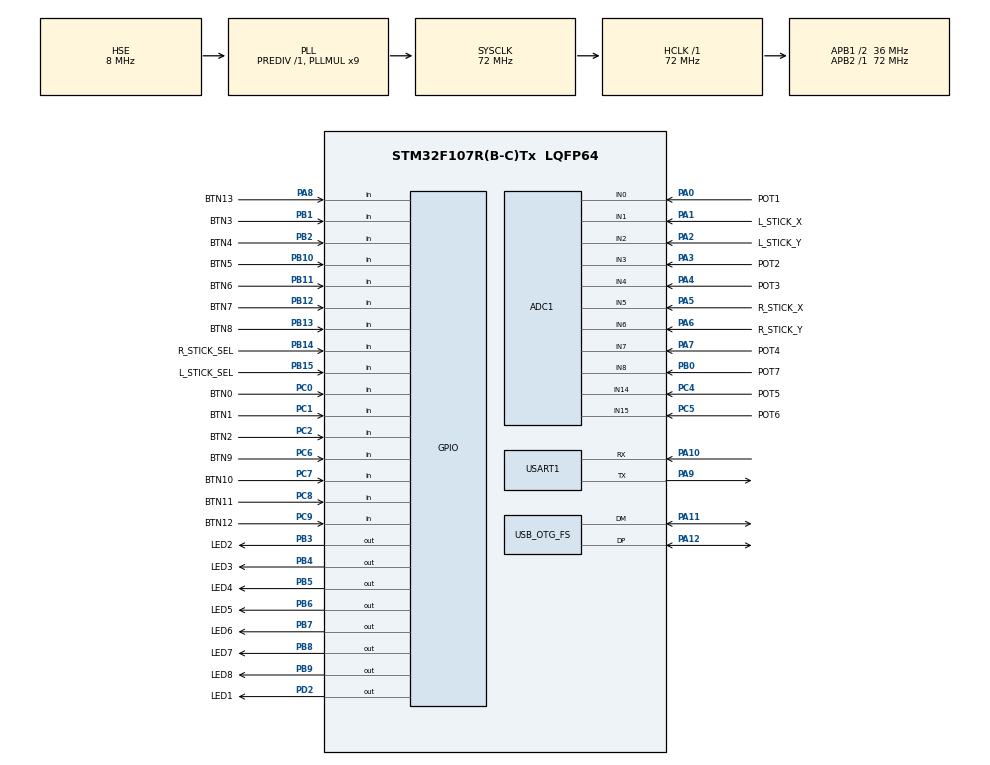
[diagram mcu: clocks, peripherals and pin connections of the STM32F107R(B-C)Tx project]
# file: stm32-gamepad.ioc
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ADC1.Channel-0\#ChannelRegularConversion=ADC_CHANNEL_0
ADC1.NbrOfConversionFlag=1
ADC1.Rank-0\#ChannelRegularConversion=1
ADC1.SamplingTime-0\#ChannelRegularConversion=ADC_SAMPLETIME_1CYCLE_5
ADC1.master=1
Mcu.Family=STM32F1
Mcu.Name=STM32F107R(B-C)Tx
Mcu.Package=LQFP64
NVIC.OTG_FS_IRQn=true\:0\:0\:false\:false\:true\:false\:true\:true
NVIC.PriorityGroup=NVIC_PRIORITYGROUP_4
NVIC.TIM1_UP_IRQn=true\:15\:0\:false\:false\:true\:false\:true\:true
NVIC.TimeBase=TIM1_UP_IRQn
NVIC.TimeBaseIP=TIM1
PA0-WKUP.GPIO_Label=POT1
PA0-WKUP.Signal=ADCx_IN0
PA1.GPIO_Label=L_STICK_X
PA1.Signal=ADCx_IN1
PA10.Mode=Asynchronous
PA10.Signal=USART1_RX
PA11.Mode=Device_Only
PA11.Signal=USB_OTG_FS_DM
PA12.Mode=Device_Only
PA12.Signal=USB_OTG_FS_DP
PA13.Mode=Serial_Wire
PA13.Signal=SYS_JTMS-SWDIO
PA14.Mode=Serial_Wire
PA14.Signal=SYS_JTCK-SWCLK
PA2.GPIO_Label=L_STICK_Y
PA2.Signal=ADCx_IN2
PA3.GPIO_Label=POT2
PA3.Signal=ADCx_IN3
PA4.GPIO_Label=POT3
PA4.Signal=ADCx_IN4
PA5.GPIO_Label=R_STICK_X
PA5.Signal=ADCx_IN5
PA6.GPIO_Label=R_STICK_Y
PA6.Signal=ADCx_IN6
PA7.GPIO_Label=POT4
PA7.Signal=ADCx_IN7
PA8.GPIO_Label=BTN13
PA8.Signal=GPIO_Input
PA9.Mode=Asynchronous
PA9.Signal=USART1_TX
PB0.GPIO_Label=POT7
PB0.Signal=ADCx_IN8
PB1.GPIO_Label=BTN3
PB1.GPIO_Mode=GPIO_MODE_INPUT
PB1.GPIO_PuPd=GPIO_PULLUP
PB1.Signal=GPIO_Input
PB10.GPIO_Label=BTN5
PB10.GPIO_Mode=GPIO_MODE_INPUT
PB10.GPIO_PuPd=GPIO_PULLUP
PB10.Signal=GPIO_Input
PB11.GPIO_Label=BTN6
PB11.GPIO_Mode=GPIO_MODE_INPUT
PB11.GPIO_PuPd=GPIO_PULLUP
PB11.Signal=GPIO_Input
PB12.GPIO_Label=BTN7
PB12.GPIO_Mode=GPIO_MODE_INPUT
PB12.GPIO_PuPd=GPIO_PULLUP
PB12.Signal=GPIO_Input
PB13.GPIO_Label=BTN8
PB13.GPIO_Mode=GPIO_MODE_INPUT
PB13.GPIO_PuPd=GPIO_PULLUP
PB13.Signal=GPIO_Input
PB14.GPIO_Label=R_STICK_SEL
PB14.GPIO_Mode=GPIO_MODE_INPUT
PB14.GPIO_PuPd=GPIO_PULLUP
PB14.Signal=GPIO_Input
PB15.GPIO_Label=L_STICK_SEL
PB15.GPIO_Mode=GPIO_MODE_INPUT
PB15.GPIO_PuPd=GPIO_PULLUP
PB15.Signal=GPIO_Input
PB2.GPIO_Label=BTN4
PB2.GPIO_Mode=GPIO_MODE_INPUT
PB2.GPIO_PuPd=GPIO_PULLUP
PB2.Signal=GPIO_Input
PB3.GPIO_Label=LED2
PB3.Signal=GPIO_Output
PB4.GPIO_Label=LED3
PB4.Signal=GPIO_Output
PB5.GPIO_Label=LED4
PB5.Signal=GPIO_Output
PB6.GPIO_Label=LED5
PB6.Signal=GPIO_Output
PB7.GPIO_Label=LED6
PB7.Signal=GPIO_Output
PB8.GPIO_Label=LED7
PB8.Signal=GPIO_Output
PB9.GPIO_Label=LED8
PB9.Signal=GPIO_Output
PC0.GPIO_Label=BTN0
PC0.Signal=GPIO_Input
PC1.GPIO_Label=BTN1
PC1.GPIO_Mode=GPIO_MODE_INPUT
PC1.GPIO_PuPd=GPIO_PULLUP
PC1.Signal=GPIO_Input
PC14-OSC32_IN.Mode=LSE-External-Oscillator
PC14-OSC32_IN.Signal=RCC_OSC32_IN
PC15-OSC32_OUT.Mode=LSE-External-Oscillator
PC15-OSC32_OUT.Signal=RCC_OSC32_OUT
PC2.GPIO_Label=BTN2
PC2.GPIO_Mode=GPIO_MODE_INPUT
PC2.GPIO_PuPd=GPIO_PULLUP
PC2.Signal=GPIO_Input
PC4.GPIO_Label=POT5
PC4.Signal=ADCx_IN14
PC5.GPIO_Label=POT6
PC5.Signal=ADCx_IN15
PC6.GPIO_Label=BTN9
PC6.Signal=GPIO_Input
PC7.GPIO_Label=BTN10
PC7.Signal=GPIO_Input
PC8.GPIO_Label=BTN11
PC8.Signal=GPIO_Input
PC9.GPIO_Label=BTN12
PC9.Signal=GPIO_Input
PD0-OSC_IN.Mode=HSE-External-Oscillator
PD0-OSC_IN.Signal=RCC_OSC_IN
PD1-OSC_OUT.Mode=HSE-External-Oscillator
PD1-OSC_OUT.Signal=RCC_OSC_OUT
PD2.GPIO_Label=LED1
PD2.Signal=GPIO_Output
ProjectManager.HeapSize=0x200
ProjectManager.StackSize=0x400
ProjectManager.TargetToolchain=STM32CubeIDE
RCC.ADCPresc=RCC_ADCPCLK2_DIV6
RCC.AHBFreq_Value=72000000
RCC.APB1CLKDivider=RCC_HCLK_DIV2
RCC.APB1Freq_Value=36000000
RCC.APB1TimFreq_Value=72000000
RCC.APB2Freq_Value=72000000
RCC.APB2TimFreq_Value=72000000
RCC.HCLKFreq_Value=72000000
RCC.PLLMUL=RCC_PLL_MUL9
RCC.SYSCLKFreq_VALUE=72000000
RCC.SYSCLKSource=RCC_SYSCLKSOURCE_PLLCLK
RCC.USBFreq_Value=48000000
SH.ADCx_IN0.0=ADC1_IN0,IN0
SH.ADCx_IN1.0=ADC1_IN1,IN1
SH.ADCx_IN14.0=ADC1_IN14,IN14
SH.ADCx_IN15.0=ADC1_IN15,IN15
SH.ADCx_IN2.0=ADC1_IN2,IN2
SH.ADCx_IN3.0=ADC1_IN3,IN3
SH.ADCx_IN4.0=ADC1_IN4,IN4
SH.ADCx_IN5.0=ADC1_IN5,IN5
SH.ADCx_IN6.0=ADC1_IN6,IN6
SH.ADCx_IN7.0=ADC1_IN7,IN7
SH.ADCx_IN8.0=ADC1_IN8,IN8
USART1.VirtualMode=VM_ASYNC
USB_DEVICE.CLASS_NAME_FS=HID
USB_DEVICE.PID_HID_FS=0x5710
USB_DEVICE.VID=0x0483
USB_DEVICE.VirtualMode=Hid
USB_DEVICE.VirtualModeFS=Hid_FS
USB_OTG_FS.VirtualMode=Device_Only
VP_SYS_VS_tim1.Mode=TIM1
VP_USB_DEVICE_VS_USB_DEVICE_HID_FS.Mode=HID_FS
board=custom

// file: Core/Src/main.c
/* USER CODE BEGIN Header */
/**
  ******************************************************************************
  * @file           : main.c
  * @brief          : Main program body
  ******************************************************************************
  * @attention
  *
  * Copyright (c) 2024 STMicroelectronics.
  * All rights reserved.
  *
  * This software is licensed under terms that can be found in the LICENSE file
  * in the root directory of this software component.
  * If no LICENSE file comes with this software, it is provided AS-IS.
  *
  ******************************************************************************
  */
/* USER CODE END Header */
#include "main.h"
#include "usb_device.h"
#include "usbd_hid.h"
/* USER CODE BEGIN Includes */
extern USBD_HandleTypeDef hUsbDeviceFS;
typedef struct {
    uint8_t Button;   // 8 buttons (1 bit per button)
    int8_t Rx;     // Joystick X-axis (-128 to 127)
    int8_t Ry;     // Joystick Y-axis (-128 to 127)
    int8_t Rz;     // Joystick Z-axis (-128 to 127)
    uint8_t Slider; // 0-255 range
} Gamepad_Report_t;

/* USER CODE END Includes */

ADC_HandleTypeDef hadc1;

UART_HandleTypeDef huart1;

void SystemClock_Config(void);
static void MX_GPIO_Init(void);
static void MX_ADC1_Init(void);
static void MX_USART1_UART_Init(void);

int main(void)
{

  /* MCU Configuration--------------------------------------------------------*/

  /* Reset of all peripherals, Initializes the Flash interface and the Systick. */
  HAL_Init();

  /* Configure the system clock */
  SystemClock_Config();

  /* Initialize all configured peripherals */
  MX_GPIO_Init();
  MX_ADC1_Init();
  MX_USART1_UART_Init();
  MX_USB_DEVICE_Init();

  /* Infinite loop */
  while (1)
  {

    /* USER CODE BEGIN 3 */
	  processBTN();
  }
  /* USER CODE END 3 */
}

void SystemClock_Config(void)
{
  RCC_OscInitTypeDef RCC_OscInitStruct = {0};
  RCC_ClkInitTypeDef RCC_ClkInitStruct = {0};
  RCC_PeriphCLKInitTypeDef PeriphClkInit = {0};

  /** Initializes the RCC Oscillators according to the specified parameters
  * in the RCC_OscInitTypeDef structure.
  */
  RCC_OscInitStruct.OscillatorType = RCC_OSCILLATORTYPE_HSE;
  RCC_OscInitStruct.HSEState = RCC_HSE_ON;
  RCC_OscInitStruct.HSEPredivValue = RCC_HSE_PREDIV_DIV1;
  RCC_OscInitStruct.HSIState = RCC_HSI_ON;
  RCC_OscInitStruct.Prediv1Source = RCC_PREDIV1_SOURCE_HSE;
  RCC_OscInitStruct.PLL.PLLState = RCC_PLL_ON;
  RCC_OscInitStruct.PLL.PLLSource = RCC_PLLSOURCE_HSE;
  RCC_OscInitStruct.PLL.PLLMUL = RCC_PLL_MUL9;
  RCC_OscInitStruct.PLL2.PLL2State = RCC_PLL_NONE;
  if (HAL_RCC_OscConfig(&RCC_OscInitStruct) != HAL_OK)
  {
    Error_Handler();
  }

  /** Initializes the CPU, AHB and APB buses clocks
  */
  RCC_ClkInitStruct.ClockType = RCC_CLOCKTYPE_HCLK|RCC_CLOCKTYPE_SYSCLK
                              |RCC_CLOCKTYPE_PCLK1|RCC_CLOCKTYPE_PCLK2;
  RCC_ClkInitStruct.SYSCLKSource = RCC_SYSCLKSOURCE_PLLCLK;
  RCC_ClkInitStruct.AHBCLKDivider = RCC_SYSCLK_DIV1;
  RCC_ClkInitStruct.APB1CLKDivider = RCC_HCLK_DIV2;
  RCC_ClkInitStruct.APB2CLKDivider = RCC_HCLK_DIV1;

  if (HAL_RCC_ClockConfig(&RCC_ClkInitStruct, FLASH_LATENCY_2) != HAL_OK)
  {
    Error_Handler();
  }
  PeriphClkInit.PeriphClockSelection = RCC_PERIPHCLK_ADC|RCC_PERIPHCLK_USB;
  PeriphClkInit.AdcClockSelection = RCC_ADCPCLK2_DIV6;
  PeriphClkInit.UsbClockSelection = RCC_USBCLKSOURCE_PLL_DIV3;
  if (HAL_RCCEx_PeriphCLKConfig(&PeriphClkInit) != HAL_OK)
  {
    Error_Handler();
  }

  /** Configure the Systick interrupt time
  */
  __HAL_RCC_PLLI2S_ENABLE();
}

static void MX_ADC1_Init(void)
{

  ADC_ChannelConfTypeDef sConfig = {0};

  /** Common config
  */
  hadc1.Instance = ADC1;
  hadc1.Init.ScanConvMode = ADC_SCAN_DISABLE;
  hadc1.Init.ContinuousConvMode = DISABLE;
  hadc1.Init.DiscontinuousConvMode = DISABLE;
  hadc1.Init.ExternalTrigConv = ADC_SOFTWARE_START;
  hadc1.Init.DataAlign = ADC_DATAALIGN_RIGHT;
  hadc1.Init.NbrOfConversion = 1;
  if (HAL_ADC_Init(&hadc1) != HAL_OK)
  {
    Error_Handler();
  }

  /** Configure Regular Channel
  */
  sConfig.Channel = ADC_CHANNEL_1;
  sConfig.Rank = ADC_REGULAR_RANK_1;
  sConfig.SamplingTime = ADC_SAMPLETIME_1CYCLE_5;
  if (HAL_ADC_ConfigChannel(&hadc1, &sConfig) != HAL_OK)
  {
    Error_Handler();
  }

}

static void MX_USART1_UART_Init(void)
{

  huart1.Instance = USART1;
  huart1.Init.BaudRate = 115200;
  huart1.Init.WordLength = UART_WORDLENGTH_8B;
  huart1.Init.StopBits = UART_STOPBITS_1;
  huart1.Init.Parity = UART_PARITY_NONE;
  huart1.Init.Mode = UART_MODE_TX_RX;
  huart1.Init.HwFlowCtl = UART_HWCONTROL_NONE;
  huart1.Init.OverSampling = UART_OVERSAMPLING_16;
  if (HAL_UART_Init(&huart1) != HAL_OK)
  {
    Error_Handler();
  }

}

static void MX_GPIO_Init(void)
{
  GPIO_InitTypeDef GPIO_InitStruct = {0};

  /* GPIO Ports Clock Enable */
  __HAL_RCC_GPIOC_CLK_ENABLE();
  __HAL_RCC_GPIOD_CLK_ENABLE();
  __HAL_RCC_GPIOA_CLK_ENABLE();
  __HAL_RCC_GPIOB_CLK_ENABLE();

  /*Configure GPIO pin Output Level */
  HAL_GPIO_WritePin(LED1_GPIO_Port, LED1_Pin, GPIO_PIN_RESET);

  /*Configure GPIO pin Output Level */
  HAL_GPIO_WritePin(GPIOB, LED2_Pin|LED3_Pin|LED4_Pin|LED5_Pin
                          |LED6_Pin|LED7_Pin|LED8_Pin, GPIO_PIN_RESET);

  /*Configure GPIO pins : BTN14_Pin BTN9_Pin BTN10_Pin BTN11_Pin
                           BTN12_Pin */
  GPIO_InitStruct.Pin = BTN14_Pin|BTN9_Pin|BTN10_Pin|BTN11_Pin
                          |BTN12_Pin;
  GPIO_InitStruct.Mode = GPIO_MODE_INPUT;
  GPIO_InitStruct.Pull = GPIO_NOPULL;
  HAL_GPIO_Init(GPIOC, &GPIO_InitStruct);

  /*Configure GPIO pins : BTN1_Pin BTN2_Pin */
  GPIO_InitStruct.Pin = BTN1_Pin|BTN2_Pin;
  GPIO_InitStruct.Mode = GPIO_MODE_INPUT;
  GPIO_InitStruct.Pull = GPIO_PULLUP;
  HAL_GPIO_Init(GPIOC, &GPIO_InitStruct);

  /*Configure GPIO pins : BTN3_Pin BTN4_Pin BTN5_Pin BTN6_Pin
                           BTN7_Pin BTN8_Pin R_STICK_SEL_Pin L_STICK_SEL_Pin */
  GPIO_InitStruct.Pin = BTN3_Pin|BTN4_Pin|BTN5_Pin|BTN6_Pin
                          |BTN7_Pin|BTN8_Pin|R_STICK_SEL_Pin|L_STICK_SEL_Pin;
  GPIO_InitStruct.Mode = GPIO_MODE_INPUT;
  GPIO_InitStruct.Pull = GPIO_PULLUP;
  HAL_GPIO_Init(GPIOB, &GPIO_InitStruct);

  /*Configure GPIO pin : BTN13_Pin */
  GPIO_InitStruct.Pin = BTN13_Pin;
  GPIO_InitStruct.Mode = GPIO_MODE_INPUT;
  GPIO_InitStruct.Pull = GPIO_NOPULL;
  HAL_GPIO_Init(BTN13_GPIO_Port, &GPIO_InitStruct);

  /*Configure GPIO pin : LED1_Pin */
  GPIO_InitStruct.Pin = LED1_Pin;
  GPIO_InitStruct.Mode = GPIO_MODE_OUTPUT_PP;
  GPIO_InitStruct.Pull = GPIO_NOPULL;
  GPIO_InitStruct.Speed = GPIO_SPEED_FREQ_LOW;
  HAL_GPIO_Init(LED1_GPIO_Port, &GPIO_InitStruct);

  /*Configure GPIO pins : LED2_Pin LED3_Pin LED4_Pin LED5_Pin
                           LED6_Pin LED7_Pin LED8_Pin */
  GPIO_InitStruct.Pin = LED2_Pin|LED3_Pin|LED4_Pin|LED5_Pin
                          |LED6_Pin|LED7_Pin|LED8_Pin;
  GPIO_InitStruct.Mode = GPIO_MODE_OUTPUT_PP;
  GPIO_InitStruct.Pull = GPIO_NOPULL;
  GPIO_InitStruct.Speed = GPIO_SPEED_FREQ_LOW;
  HAL_GPIO_Init(GPIOB, &GPIO_InitStruct);

}

/* USER CODE BEGIN 4 */
void processBTN() {
    uint8_t buttonState = 0;
    buttonState |= HAL_GPIO_ReadPin(GPIOC, GPIO_PIN_1) << 0;  // Button 1
    buttonState |= HAL_GPIO_ReadPin(GPIOC, GPIO_PIN_2) << 1;  // Button 2
    buttonState |= HAL_GPIO_ReadPin(GPIOB, GPIO_PIN_1) << 2;  // Button 3
    buttonState |= HAL_GPIO_ReadPin(GPIOC, GPIO_PIN_0) << 3;  // Button 4
    buttonState |= HAL_GPIO_ReadPin(GPIOB, GPIO_PIN_10) << 4;  // Button 5
    buttonState |= HAL_GPIO_ReadPin(GPIOB, GPIO_PIN_11) << 5;  // Button 6
    buttonState |= HAL_GPIO_ReadPin(GPIOB, GPIO_PIN_12) << 6;  // Button 7
    buttonState |= HAL_GPIO_ReadPin(GPIOB, GPIO_PIN_13) << 7;  // Button 8
    buttonState |= HAL_GPIO_ReadPin(GPIOC, GPIO_PIN_6) << 8;  // Button 9
    buttonState |= HAL_GPIO_ReadPin(GPIOC, GPIO_PIN_7) << 9;  // Button 10
    buttonState |= HAL_GPIO_ReadPin(GPIOC, GPIO_PIN_8) << 10;  // Button 11
    buttonState |= HAL_GPIO_ReadPin(GPIOC, GPIO_PIN_9) << 11;  // Button 12
    buttonState |= HAL_GPIO_ReadPin(GPIOA, GPIO_PIN_8) << 12;  // Button 13

    Gamepad_Report_t report = {
        .Button = buttonState,
        .Rx = 0,
        .Ry = 0,
        .Rz = 0,
        .Slider = 0,
    };
    USBD_HID_SendReport(&hUsbDeviceFS, &report, sizeof(report));
   /* HAL_GPIO_TogglePin(GPIOD, GPIO_PIN_2); // Toggle LED */
    HAL_Delay(60); // Polling interval
}
/* USER CODE END 4 */

void HAL_TIM_PeriodElapsedCallback(TIM_HandleTypeDef *htim)
{
  if (htim->Instance == TIM1) {
    HAL_IncTick();
  }
}

void Error_Handler(void)
{
  __disable_irq();
  while (1)
  {
  }
}
